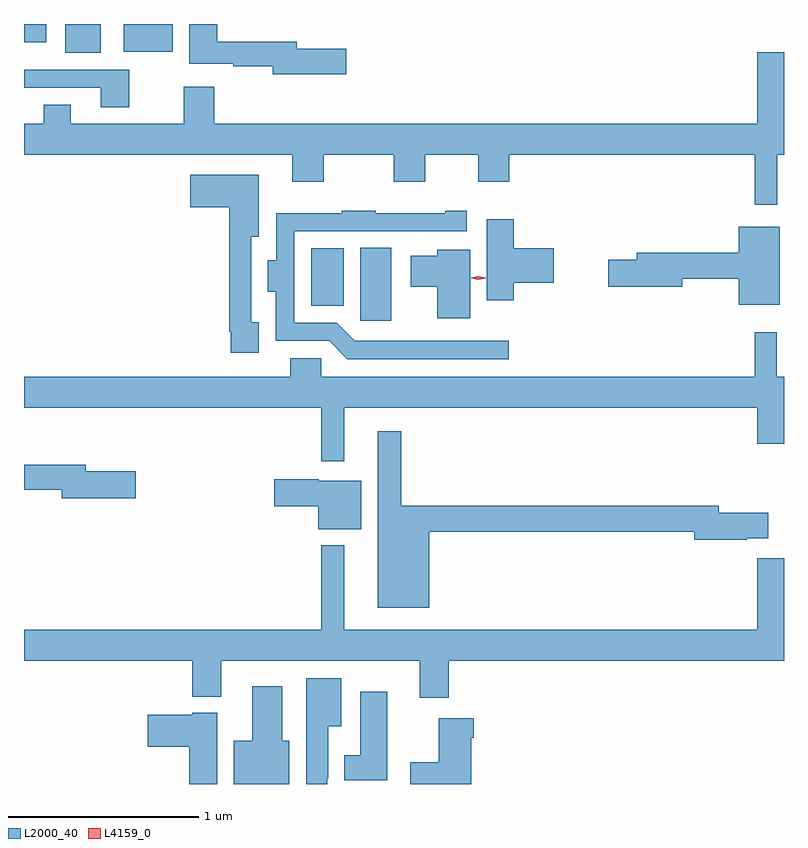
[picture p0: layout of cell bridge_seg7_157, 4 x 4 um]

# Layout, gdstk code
import gdstk
lib = gdstk.Library(unit=1e-6, precision=1e-09)
def R(c, l, rs):  # rectangles x0, y0, x1, y1
    for r in rs: c.add(gdstk.rectangle(r[:2], r[2:], *l))
def P(c, l, *ps):  # polygons
    for p in ps: c.add(gdstk.Polygon(p, *l))
L2000_40 = (2000, 40)
L4159_0 = (4159, 0)

bridge_seg7_157 = lib.new_cell('bridge_seg7_157')
R(bridge_seg7_157, L2000_40, [(402.68,1046.361,402.844,1046.747), (402.422,1046.441,402.592,1046.743), (401.126,1047.773,401.314,1047.924), (401.435,1047.779,401.692,1047.924), (400.91,1047.828,401.026,1047.924)])
P(bridge_seg7_157, L2000_40, [(402.607,1047.794),(402.346,1047.794),(402.346,1047.83),(401.927,1047.83),(401.927,1047.924),(401.78,1047.924),(401.78,1047.714),(402.01,1047.714),(402.01,1047.702),(402.218,1047.702),(402.218,1047.659),(402.607,1047.659)],
  [(404.874,1047.236),(404.91,1047.236),(404.91,1047.775),(404.768,1047.775),(404.768,1047.4),(401.912,1047.4),(401.912,1047.595),(401.752,1047.595),(401.752,1047.4),(401.155,1047.4),(401.155,1047.499),(401.015,1047.499),(401.015,1047.4),(400.91,1047.4),(400.91,1047.236),(402.323,1047.236),(402.323,1047.093),(402.487,1047.093),(402.487,1047.236),(402.857,1047.236),(402.857,1047.093),(403.021,1047.093),(403.021,1047.236),(403.301,1047.236),(403.301,1047.093),(403.465,1047.093),(403.465,1047.236),(404.755,1047.236),(404.755,1046.973),(404.874,1046.973)],
  [(401.463,1047.684),(400.91,1047.684),(400.91,1047.588),(401.315,1047.588),(401.315,1047.486),(401.463,1047.486)],
  [(402.145,1046.353),(402.105,1046.353),(402.105,1046.804),(402.145,1046.804),(402.145,1047.13),(401.784,1047.13),(401.784,1046.96),(401.989,1046.96),(401.989,1046.305),(401.997,1046.305),(401.997,1046.193),(402.145,1046.193)],
  [(403.462,1046.256),(402.651,1046.256),(402.555,1046.352),(402.333,1046.352),(402.333,1046.832),(403.24,1046.832),(403.24,1046.941),(403.127,1046.941),(403.127,1046.929),(402.761,1046.929),(402.761,1046.941),(402.583,1046.941),(402.583,1046.929),(402.237,1046.929),(402.237,1046.68),(402.194,1046.68),(402.194,1046.516),(402.236,1046.516),(402.236,1046.256),(402.516,1046.256),(402.612,1046.16),(403.462,1046.16)],
  [(403.487,1046.561),(403.699,1046.561),(403.699,1046.744),(403.487,1046.744),(403.487,1046.896),(403.346,1046.896),(403.346,1046.469),(403.487,1046.469)],
  [(404.887,1046.857),(404.672,1046.857),(404.672,1046.72),(404.135,1046.72),(404.135,1046.684),(403.986,1046.684),(403.986,1046.542),(404.374,1046.542),(404.374,1046.584),(404.672,1046.584),(404.672,1046.447),(404.887,1046.447)],
  [(403.258,1046.737),(403.085,1046.737),(403.085,1046.704),(402.945,1046.704),(402.945,1046.54),(403.085,1046.54),(403.085,1046.375),(403.258,1046.375)],
  [(404.755,1046.068),(402.474,1046.068),(402.474,1046.166),(402.311,1046.166),(402.311,1046.068),(400.91,1046.068),(400.91,1045.904),(402.474,1045.904),(402.474,1045.623),(402.595,1045.623),(402.595,1045.904),(404.768,1045.904),(404.768,1045.716),(404.91,1045.716),(404.91,1046.068),(404.873,1046.068),(404.873,1046.302),(404.755,1046.302)],
  [(403.042,1045.252),(404.438,1045.252),(404.438,1045.21),(404.714,1045.21),(404.714,1045.217),(404.827,1045.217),(404.827,1045.352),(404.566,1045.352),(404.566,1045.388),(402.895,1045.388),(402.895,1045.78),(402.773,1045.78),(402.773,1044.851),(403.042,1044.851)],
  [(401.497,1045.569),(401.236,1045.569),(401.236,1045.603),(400.91,1045.603),(400.91,1045.474),(401.108,1045.474),(401.108,1045.427),(401.497,1045.427)],
  [(402.685,1045.519),(402.462,1045.519),(402.462,1045.527),(402.228,1045.527),(402.228,1045.385),(402.458,1045.385),(402.458,1045.265),(402.685,1045.265)],
  [(403.145,1044.572),(404.91,1044.572),(404.91,1045.111),(404.768,1045.111),(404.768,1044.736),(402.595,1044.736),(402.595,1045.18),(402.474,1045.18),(402.474,1044.736),(400.91,1044.736),(400.91,1044.572),(401.795,1044.572),(401.795,1044.383),(401.947,1044.383),(401.947,1044.572),(402.992,1044.572),(402.992,1044.378),(403.145,1044.378)],
  [(402.507,1043.953),(402.511,1043.953),(402.511,1044.227),(402.58,1044.227),(402.58,1044.481),(402.395,1044.481),(402.395,1043.924),(402.507,1043.924)],
  [(402.307,1044.151),(402.268,1044.151),(402.268,1044.439),(402.11,1044.439),(402.11,1044.151),(402.014,1044.151),(402.014,1043.924),(402.307,1043.924)],
  [(402.823,1044.409),(402.68,1044.409),(402.68,1044.076),(402.596,1044.076),(402.596,1043.945),(402.823,1043.945)],
  [(401.926,1044.298),(401.796,1044.298),(401.796,1044.289),(401.562,1044.289),(401.562,1044.119),(401.78,1044.119),(401.78,1043.924),(401.926,1043.924)],
  [(403.264,1044.167),(403.277,1044.167),(403.277,1044.271),(403.094,1044.271),(403.094,1044.039),(402.942,1044.039),(402.942,1043.924),(403.264,1043.924)])
P(bridge_seg7_157, L4159_0, [(403.302,1046.577),(403.263,1046.587),(403.263,1046.587),(403.263,1046.588),(403.302,1046.597),(403.341,1046.588),(403.341,1046.587),(403.341,1046.587)])

lib.write_gds('bridge_seg7_157.gds')
